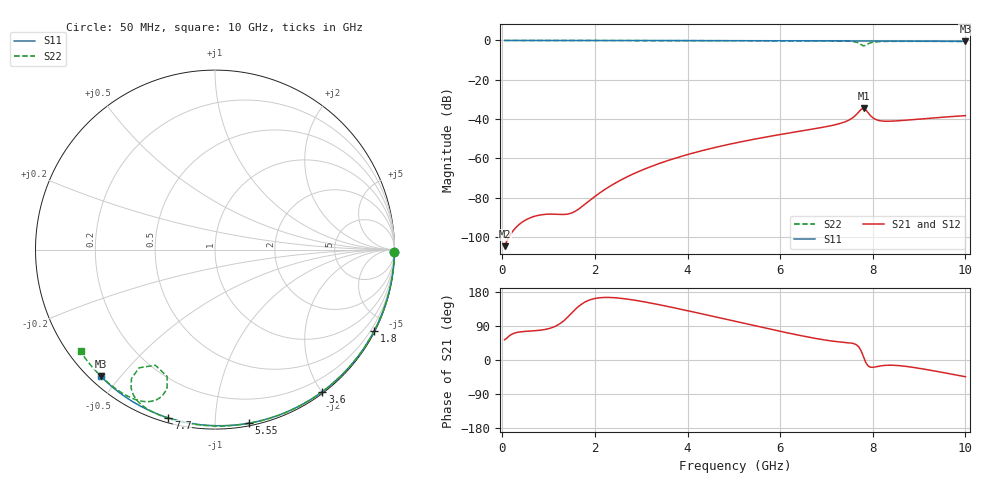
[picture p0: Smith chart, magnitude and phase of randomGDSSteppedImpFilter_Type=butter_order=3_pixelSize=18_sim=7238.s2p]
! freq	dB(S11)	phase(S11)	dB(S12)	phase(S12)
!  dB(S21)	phase(S21)	dB(S22)	phase(S22)
!S-par simulation data
#  GHz  S  DB  R 50
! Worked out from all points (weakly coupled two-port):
!   200 points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, 50 MHz to 10 GHz, reference 50 ohm
!   highest |S21| = -34.53 dB at 7.8 GHz (marker M1); lowest = -104.6 dB at 50 MHz (marker M2)
!   lowest |S11| = -0.4 dB at 10 GHz (marker M3), VSWR 39.05, Z = 1.53 - j22.2 ohm
!   |S11| at or under -10 dB: nowhere
!   |S22| runs from -2.8 to 0.0 dB; largest |S21 - S12| = 0
!   S11 on the Smith chart (normalised r, x): 50 MHz: open; 1.8 GHz: 0.04, -4.16; 3.6 GHz: 0.02, -2.01; 5.55 GHz: 0.02, -1.21; 7.7 GHz: 0.02, -0.76; 10 GHz: 0.03, -0.44
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0.05  -0.00 -0.8  -104.61 53.5  -104.61 53.5  -0.00 -0.8
0.85  -0.02 -12.9  -88.61 79.1  -88.61 79.1  -0.01 -14.0
1.75  -0.03 -26.3  -83.94 150.5  -83.94 150.5  -0.04 -28.6
1.8  -0.03 -27.0  -83.00 153.9  -83.00 153.9  -0.04 -29.4
1.95  -0.04 -29.2  -80.22 160.9  -80.22 160.9  -0.04 -31.7
2.65  -0.05 -39.4  -69.87 161.5  -69.87 161.5  -0.05 -42.8
3.4  -0.07 -50.1  -62.47 145.6  -62.47 145.6  -0.07 -54.3
3.6  -0.07 -52.9  -60.88 140.6  -60.88 140.6  -0.08 -57.4
5.05  -0.11 -72.5  -52.04 101.4  -52.04 101.4  -0.12 -78.7
5.55  -0.13 -79.0  -49.72 87.7  -49.72 87.7  -0.14 -85.8
6.7  -0.18 -93.4  -45.06 58.4  -45.06 58.4  -0.20 -102.2
7.4  -0.22 -101.9  -41.38 46.3  -41.38 46.3  -0.33 -113.8
7.55  -0.23 -103.7  -39.58 44.3  -39.58 44.3  -0.51 -117.7
7.7  -0.24 -105.5  -36.27 34.3  -36.27 34.3  -1.36 -122.9
7.8  -0.24 -106.7  -34.53 8.1  -34.53 8.1  -2.80 -117.3
7.85  -0.25 -107.3  -35.32 -6.9  -35.32 -6.9  -2.44 -110.7
7.9  -0.25 -107.9  -36.80 -15.8  -36.80 -15.8  -1.70 -109.0
8  -0.26 -109.0  -39.28 -19.4  -39.28 -19.4  -0.92 -111.4
8.15  -0.27 -110.8  -40.79 -16.0  -40.79 -16.0  -0.57 -115.3
8.35  -0.29 -113.1  -41.08 -13.7  -41.08 -13.7  -0.46 -119.3
9.05  -0.35 -121.2  -39.90 -22.9  -39.90 -22.9  -0.44 -129.9
10  -0.45 -132.1  -38.22 -44.1  -38.22 -44.1  -0.54 -142.9
